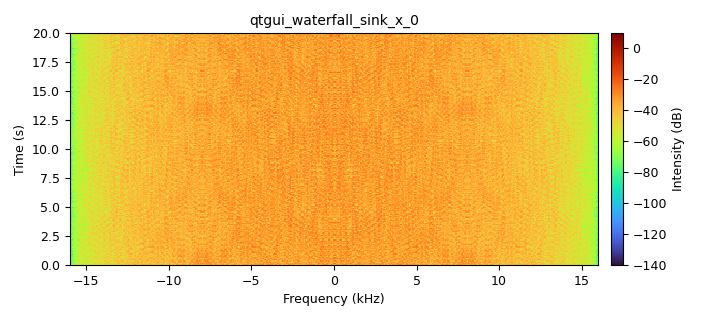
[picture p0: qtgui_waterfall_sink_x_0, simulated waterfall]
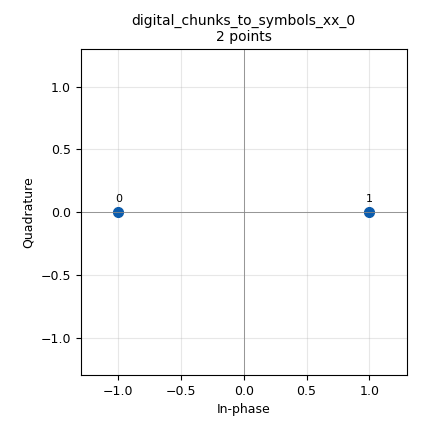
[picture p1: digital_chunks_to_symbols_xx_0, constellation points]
options:
  parameters:
    author: clouda
    generate_options: qt_gui
    id: randbpskt
    output_language: python
    title: Not titled yet
  states: {}

blocks:
- name: head
  id: variable_header_format_default
  parameters:
    access_code: '00011010110011111111110000011101'
    bps: '1'
    threshold: '1'
  states: {}
- name: samp_rate
  id: variable
  parameters:
    value: '32000'
  states: {}
- name: analog_random_source_x_0
  id: analog_random_source_x
  parameters:
    max: '256'
    min: '0'
    num_samps: '1000'
    repeat: 'True'
    type: byte
  states: {}
- name: blocks_char_to_float_0
  id: blocks_char_to_float
  parameters:
    scale: '1'
  states: {state: disabled}
- name: blocks_file_sink_0
  id: blocks_file_sink
  parameters:
    file: ./bpsktx.wav
    type: complex
  states: {}
- name: blocks_file_sink_1
  id: blocks_file_sink
  parameters:
    file: ./bpsktxd.bin
    type: byte
  states: {}
- name: blocks_head_0
  id: blocks_head
  parameters:
    num_items: '1032000'
    type: byte
  states: {}
- name: blocks_repeat_0
  id: blocks_repeat
  parameters:
    interp: '2'
    type: complex
  states: {}
- name: blocks_stream_to_tagged_stream_0
  id: blocks_stream_to_tagged_stream
  parameters:
    len_tag_key: '"packet_len"'
    packet_len: '1024'
    type: byte
  states: {}
- name: blocks_tagged_stream_mux_0
  id: blocks_tagged_stream_mux
  parameters:
    lengthtagname: packet_len
    ninputs: '2'
    type: byte
  states: {}
- name: blocks_unpack_k_bits_bb_0
  id: blocks_unpack_k_bits_bb
  parameters:
    k: '8'
  states: {}
- name: digital_chunks_to_symbols_xx_0
  id: digital_chunks_to_symbols_xx
  parameters:
    dimension: '1'
    in_type: byte
    out_type: complex
    symbol_table: '[-1,1]'
  states: {}
- name: digital_protocol_formatter_bb_0
  id: digital_protocol_formatter_bb
  parameters:
    format: head
    len_tag_key: '"packet_len"'
  states: {}
- name: qtgui_time_sink_x_0
  id: qtgui_time_sink_x
  parameters:
    size: '1024'
    srate: samp_rate
    type: float
  states: {state: disabled}
- name: qtgui_waterfall_sink_x_0
  id: qtgui_waterfall_sink_x
  parameters:
    bw: samp_rate
    fc: '0'
    fftsize: '1024'
    type: complex
  states: {}

connections:
- [analog_random_source_x_0, '0', blocks_char_to_float_0, '0']
- [analog_random_source_x_0, '0', blocks_stream_to_tagged_stream_0, '0']
- [blocks_char_to_float_0, '0', qtgui_time_sink_x_0, '0']
- [blocks_head_0, '0', blocks_file_sink_1, '0']
- [blocks_head_0, '0', blocks_unpack_k_bits_bb_0, '0']
- [blocks_repeat_0, '0', blocks_file_sink_0, '0']
- [blocks_repeat_0, '0', qtgui_waterfall_sink_x_0, '0']
- [blocks_stream_to_tagged_stream_0, '0', blocks_tagged_stream_mux_0, '1']
- [blocks_stream_to_tagged_stream_0, '0', digital_protocol_formatter_bb_0, '0']
- [blocks_tagged_stream_mux_0, '0', blocks_head_0, '0']
- [blocks_unpack_k_bits_bb_0, '0', digital_chunks_to_symbols_xx_0, '0']
- [digital_chunks_to_symbols_xx_0, '0', blocks_repeat_0, '0']
- [digital_protocol_formatter_bb_0, '0', blocks_tagged_stream_mux_0, '0']

metadata:
  file_format: 1
